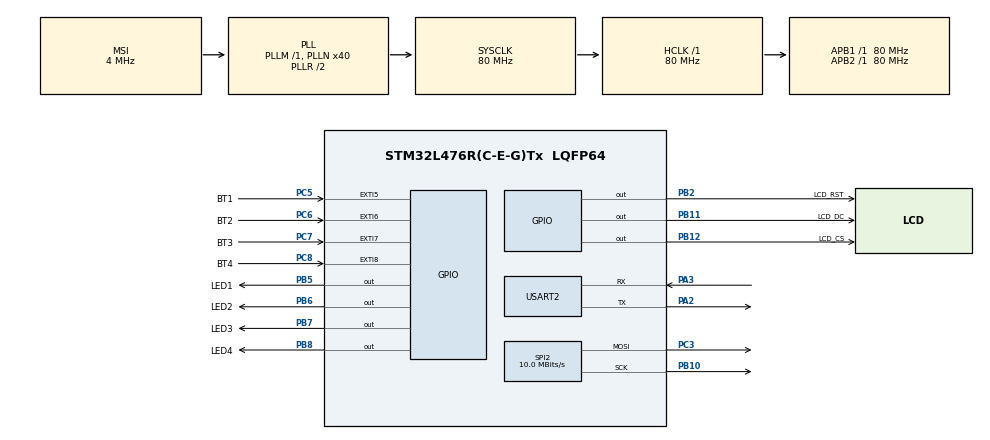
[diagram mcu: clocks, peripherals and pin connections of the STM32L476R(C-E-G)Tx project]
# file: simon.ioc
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Mcu.Family=STM32L4
Mcu.Name=STM32L476R(C-E-G)Tx
Mcu.Package=LQFP64
NVIC.EXTI9_5_IRQn=true\:8\:0\:true\:false\:true\:true\:true\:true
NVIC.PriorityGroup=NVIC_PRIORITYGROUP_4
NVIC.USART2_IRQn=true\:12\:0\:true\:false\:true\:true\:true\:true
PA13\ (JTMS-SWDIO).Mode=Serial_Wire
PA13\ (JTMS-SWDIO).Signal=SYS_JTMS-SWDIO
PA14\ (JTCK-SWCLK).Mode=Serial_Wire
PA14\ (JTCK-SWCLK).Signal=SYS_JTCK-SWCLK
PA2.Mode=Asynchronous
PA2.Signal=USART2_TX
PA3.Mode=Asynchronous
PA3.Signal=USART2_RX
PB10.Mode=TX_Only_Simplex_Unidirect_Master
PB10.Signal=SPI2_SCK
PB11.GPIO_Label=LCD_DC
PB11.Signal=GPIO_Output
PB12.GPIO_Label=LCD_CS
PB12.PinState=GPIO_PIN_SET
PB12.Signal=GPIO_Output
PB2.GPIO_Label=LCD_RST
PB2.Signal=GPIO_Output
PB5.GPIO_Label=LED1
PB5.Signal=GPIO_Output
PB6.GPIO_Label=LED2
PB6.Signal=GPIO_Output
PB7.GPIO_Label=LED3
PB7.Signal=GPIO_Output
PB8.GPIO_Label=LED4
PB8.Signal=GPIO_Output
PC3.Mode=TX_Only_Simplex_Unidirect_Master
PC3.Signal=SPI2_MOSI
PC5.GPIO_Label=BT1
PC5.GPIO_PuPd=GPIO_PULLUP
PC5.Signal=GPXTI5
PC6.GPIO_Label=BT2
PC6.GPIO_PuPd=GPIO_PULLUP
PC6.Signal=GPXTI6
PC7.GPIO_Label=BT3
PC7.GPIO_PuPd=GPIO_PULLUP
PC7.Signal=GPXTI7
PC8.GPIO_Label=BT4
PC8.GPIO_PuPd=GPIO_PULLUP
PC8.Signal=GPXTI8
ProjectManager.HeapSize=0x200
ProjectManager.StackSize=0x400
ProjectManager.TargetToolchain=STM32CubeIDE
RCC.AHBFreq_Value=80000000
RCC.APB1Freq_Value=80000000
RCC.APB1TimFreq_Value=80000000
RCC.APB2Freq_Value=80000000
RCC.APB2TimFreq_Value=80000000
RCC.CortexFreq_Value=80000000
RCC.HCLKFreq_Value=80000000
RCC.HSE_VALUE=8000000
RCC.HSI_VALUE=16000000
RCC.MSI_VALUE=4000000
RCC.PLLN=40
RCC.RTCClockSelection=RCC_RTCCLKSOURCE_LSE
RCC.SYSCLKFreq_VALUE=80000000
RCC.SYSCLKSource=RCC_SYSCLKSOURCE_PLLCLK
RCC.VCOOutputFreq_Value=160000000
SPI2.BaudRatePrescaler=SPI_BAUDRATEPRESCALER_8
SPI2.CalculateBaudRate=10.0 MBits/s
SPI2.DataSize=SPI_DATASIZE_8BIT
SPI2.Direction=SPI_DIRECTION_2LINES
SPI2.Mode=SPI_MODE_MASTER
SPI2.NSSPMode=SPI_NSS_PULSE_DISABLE
SPI2.VirtualType=VM_MASTER
USART2.VirtualMode-Asynchronous=VM_ASYNC
board=custom

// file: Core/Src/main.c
/* USER CODE BEGIN Header */
/**
  ******************************************************************************
  * @file           : main.c
  * @brief          : Main program body
  ******************************************************************************
  * @attention
  *
  * Copyright (c) 2025 STMicroelectronics.
  * All rights reserved.
  *
  * This software is licensed under terms that can be found in the LICENSE file
  * in the root directory of this software component.
  * If no LICENSE file comes with this software, it is provided AS-IS.
  *
  ******************************************************************************
  */
/* USER CODE END Header */
#include "main.h"
#include "spi.h"
#include "usart.h"
#include "gpio.h"

/* USER CODE BEGIN Includes */
#include "font6x9.h"
#include "hagl.h"
#include "rgb565.h"
/* USER CODE END Includes */

/* USER CODE BEGIN PV */
static uint8_t sequence[50];       // Maximum sequence length
static uint8_t sequence_length;    // Current sequence length
static uint8_t current_level = 0;  // Game level
static uint8_t current_sequence_check_index = 0; // Current index for sequence checking

#define MAX_PLAYERS 20

static char player_global_usernames[MAX_PLAYERS][20] = { "" };  // Global array of player usernames
static uint8_t player_global_scores[MAX_PLAYERS] = {0};         // Global array of player scores

uint8_t uart_rx_buffer;
uint32_t game_state = 0;                  // Current game state
uint8_t player_count = 0;                 // Number of players
char player_names[4][20];                 // Names of up to 4 players
uint8_t current_player = 0;               // Index of the current player
uint8_t color_sequence[50];               // Color sequence
uint8_t player_scores[4] = {0, 0, 0, 0};    // Player scores

hagl_backend_t *display;

#define LINE_MAX_LENGTH 20

static char line_buffer[LINE_MAX_LENGTH] = {0};
static uint8_t line_length = 0;

void line_append(uint8_t value) {
    if (value == '\r' || value == '\n') {
        // Line ending character received
        if (line_length > 0) {
            // Add string terminator at the end of the line
            line_buffer[line_length] = '\0';

            // Process the line
            if (game_state == 5) {
                strncpy(player_names[current_player], line_buffer, LINE_MAX_LENGTH);
                player_names[current_player][LINE_MAX_LENGTH - 1] = '\0';  // Ensure null termination

                // Display the username on screen
                wchar_t username_label[40];
                swprintf(username_label, sizeof(username_label) / sizeof(wchar_t),
                         L"Player %u: %s", current_player + 1, player_names[current_player]);
                hagl_put_text(display, username_label, 10, 40 + (current_player * 20), WHITE, font6x9);
                lcd_copy();

                // Check if this is the last player
                if (current_player + 1 < player_count) {
                    current_player++;
                    char message[50];  // Message buffer
                    snprintf(message, sizeof(message), "Type Player %u username:\r\n", current_player + 1);
                    HAL_UART_Transmit(&huart2, (uint8_t *)message, strlen(message), HAL_MAX_DELAY);
                } else {
                    HAL_UART_Transmit(&huart2, (uint8_t *)"All usernames selected!\r\n", 27, HAL_MAX_DELAY);

                    for (uint8_t i = 0; i < player_count; i++) {
                        char message[50];  // Message buffer
                        snprintf(message, sizeof(message), "Player %u: %s\r\n", i + 1, player_names[i]);
                        HAL_UART_Transmit(&huart2, (uint8_t *)message, strlen(message), HAL_MAX_DELAY);
                    }

                    current_player = 0;

                    all_leds_off_but(1);
                    display_players_turn_text();

                    game_state = 6;  // Change game state
                }
            }
            // Reset the buffer
            line_length = 0;
        }
    } else {
        // Append character to buffer if space is available
        if (line_length < LINE_MAX_LENGTH - 1) {
            line_buffer[line_length++] = value;
        } else {
            // Buffer overflow, resetting
            line_length = 0;
        }
    }
}

uint8_t received_char;

void HAL_UART_RxCpltCallback(UART_HandleTypeDef *huart) {
    if (huart->Instance == USART2) {
        // Add the received character to the line buffer
        line_append(received_char);

        // Restart reception in interrupt mode
        HAL_UART_Receive_IT(&huart2, &received_char, 1);
    }
}

void HAL_GPIO_EXTI_Callback(uint16_t GPIO_Pin) {
    // Button handling
    uint32_t currentTime = HAL_GetTick();

    char buffer[64];
    sprintf(buffer, "Game state: %lu, GPIO_Pin: %u\r\n", game_state, GPIO_Pin);
    HAL_UART_Transmit(&huart2, (uint8_t *)buffer, strlen(buffer), HAL_MAX_DELAY);

    if (game_state == 2 || game_state == 10) {
        if (GPIO_Pin == BT4_Pin) {
            game_state = 1;
            HAL_UART_Transmit(&huart2, (uint8_t *)"Back to Menu\r\n", 14, HAL_MAX_DELAY);
            all_leds_on_but(4);
            display_menu();
            return;
        }
    } else if (game_state == 1) {  // Menu
        if (GPIO_Pin == BT1_Pin) {
            game_state = 3;
            all_leds_on();
            display_player_count_selection();
            HAL_UART_Transmit(&huart2, (uint8_t *)"Player Count Selection\r\n", 25, HAL_MAX_DELAY);
        } else if (GPIO_Pin == BT2_Pin) {
            game_state = 2;
            HAL_UART_Transmit(&huart2, (uint8_t *)"Global Ranking selected\r\n", 23, HAL_MAX_DELAY);
            all_leds_off_but(4);
            display_global_ranking();
        } else if (GPIO_Pin == BT3_Pin) {
            game_state = 10;
            HAL_UART_Transmit(&huart2, (uint8_t *)"Credits selected\r\n", 19, HAL_MAX_DELAY);
            all_leds_off_but(4);
            display_credits();
        }
    } else if (game_state == 3) {  // Player Count Selection
        if (GPIO_Pin == BT1_Pin) {
            player_count = 1;
            game_state = 4;
            all_leds_off_but(1);
            HAL_UART_Transmit(&huart2, (uint8_t *)"1 Player selected\r\n", 20, HAL_MAX_DELAY);
        } else if (GPIO_Pin == BT2_Pin) {
            player_count = 2;
            game_state = 4;
            all_leds_off_but(2);
            HAL_UART_Transmit(&huart2, (uint8_t *)"2 Players selected\r\n", 21, HAL_MAX_DELAY);
        } else if (GPIO_Pin == BT3_Pin) {
            player_count = 3;
            game_state = 4;
            all_leds_off_but(3);
            HAL_UART_Transmit(&huart2, (uint8_t *)"3 Players selected\r\n", 21, HAL_MAX_DELAY);
        } else if (GPIO_Pin == BT4_Pin) {
            player_count = 4;
            game_state = 4;
            all_leds_off_but(4);
            HAL_UART_Transmit(&huart2, (uint8_t *)"4 Players selected\r\n", 21, HAL_MAX_DELAY);
        }

        if (GPIO_Pin == BT1_Pin || GPIO_Pin == BT2_Pin || GPIO_Pin == BT3_Pin || GPIO_Pin == BT4_Pin) {
            display_player_count_selected();
            all_leds_off();
            HAL_Delay(1000);
            display_player_introduction();
            game_state = 5;
            current_player = 0;
            HAL_UART_Transmit(&huart2, (uint8_t *)"Type Player 1 username:\r\n", 26, HAL_MAX_DELAY);
        }
    } else if (game_state == 6) {
        if (GPIO_Pin == BT1_Pin) {
            game_state = 7;
            all_leds_off();
            game_system();
        }
    } else if (game_state == 8) {
        uint8_t expected_led = sequence[current_sequence_check_index];
        uint8_t pressed_led = 0;

        // Map GPIO_Pin to LED number
        if (GPIO_Pin == BT1_Pin)
            pressed_led = 0;
        else if (GPIO_Pin == BT2_Pin)
            pressed_led = 1;
        else if (GPIO_Pin == BT3_Pin)
            pressed_led = 2;
        else if (GPIO_Pin == BT4_Pin)
            pressed_led = 3;

        // Check if the pressed LED matches the expected one
        if (pressed_led == expected_led) {
            current_sequence_check_index++;

            display_replay_sequence(current_level, current_sequence_check_index + 1, sequence_length);

            if (current_sequence_check_index >= sequence_length) {
                current_sequence_check_index = 0;
                game_state = 7;
                game_system();
            }
        } else {
            update_global_score(player_names[current_player], current_level - 1);
            update_score(current_level - 1);

            display_wrong();
            all_leds_blink(6, 100);
            HAL_Delay(2000);

            current_level = 0;
            if (current_player + 1 < player_count) {
                current_player += 1;
                all_leds_off_but(1);
                display_players_turn_text();

                game_state = 6;
            } else {
                HAL_UART_Transmit(&huart2, (uint8_t *)"Game finished!\r\n", 21, HAL_MAX_DELAY);
                game_state = 9;
                all_leds_off_but(4);
                display_game_ranking();
            }
        }
    } else if (game_state == 9) {
        if (GPIO_Pin == BT4_Pin) {
            game_state = 1;
            all_leds_on_but(4);
            display_menu();
        }
    }

    __HAL_GPIO_EXTI_CLEAR_IT(GPIO_Pin);
}

/* USER CODE END PV */

void SystemClock_Config(void);

/* USER CODE BEGIN 0 */
#define MAX_RADIUS 80
#define STEP 3  // Increase the radius by this step during animation

void generate_sequence(uint8_t level) {
    sequence_length = level + 2;  // Sequence length increases with level

    for (uint8_t i = 0; i < sequence_length; i++) {
        sequence[i] = rand() % 4;  // Random color (0-3)
    }
}

void play_sequence(uint32_t base_delay) {
    for (uint8_t i = 0; i < sequence_length; i++) {
        // Turn on the corresponding LED based on the sequence color
        switch (sequence[i]) {
            case 0:
                HAL_GPIO_WritePin(LED1_GPIO_Port, LED1_Pin, GPIO_PIN_SET);
                break;
            case 1:
                HAL_GPIO_WritePin(LED2_GPIO_Port, LED2_Pin, GPIO_PIN_SET);
                break;
            case 2:
                HAL_GPIO_WritePin(LED3_GPIO_Port, LED3_Pin, GPIO_PIN_SET);
                break;
            case 3:
                HAL_GPIO_WritePin(LED4_GPIO_Port, LED4_Pin, GPIO_PIN_SET);
                break;
        }

        HAL_Delay(base_delay);  // Delay

        // Turn off all LEDs using the helper function
        all_leds_off();

        HAL_Delay(base_delay / 2);  // Short delay before the next LED
    }
}

void game_system() {
    if (game_state != 7) return;
    current_sequence_check_index = 0;

    lcd_clear(BLACK);

    // Display message to memorize the sequence
    display_remember_sequence();

    HAL_Delay(1000);

    // Generate a new sequence
    current_sequence_check_index = 0;
    current_level += 1;
    generate_sequence(current_level);

    // Display the sequence using the LEDs
    uint32_t base_delay = 1000 - (current_level * 100);  // Reduce delay with each level
    play_sequence(base_delay);

    // Display message prompting the user to repeat the sequence
    game_state = 8;
    display_replay_sequence();
}

void all_leds_blink(uint8_t times, uint32_t delay_ms) {
    for (uint8_t i = 0; i < times; i++) {
        // Turn on all LEDs using the helper function
        all_leds_on();
        HAL_Delay(delay_ms);

        // Turn off all LEDs using the helper function
        all_leds_off();
        HAL_Delay(delay_ms);
    }
}

void all_leds_on() {
    // Turn on all LEDs
    HAL_GPIO_WritePin(LED1_GPIO_Port, LED1_Pin, GPIO_PIN_SET);
    HAL_GPIO_WritePin(LED2_GPIO_Port, LED2_Pin, GPIO_PIN_SET);
    HAL_GPIO_WritePin(LED3_GPIO_Port, LED3_Pin, GPIO_PIN_SET);
    HAL_GPIO_WritePin(LED4_GPIO_Port, LED4_Pin, GPIO_PIN_SET);
}

void all_leds_on_but(int excluded_led) {
    // Turn off all LEDs
    HAL_GPIO_WritePin(LED1_GPIO_Port, LED1_Pin, GPIO_PIN_RESET);
    HAL_GPIO_WritePin(LED2_GPIO_Port, LED2_Pin, GPIO_PIN_RESET);
    HAL_GPIO_WritePin(LED3_GPIO_Port, LED3_Pin, GPIO_PIN_RESET);
    HAL_GPIO_WritePin(LED4_GPIO_Port, LED4_Pin, GPIO_PIN_RESET);

    // Turn on all LEDs except the specified one
    if (excluded_led != 1) {
        HAL_GPIO_WritePin(LED1_GPIO_Port, LED1_Pin, GPIO_PIN_SET);
    }
    if (excluded_led != 2) {
        HAL_GPIO_WritePin(LED2_GPIO_Port, LED2_Pin, GPIO_PIN_SET);
    }
    if (excluded_led != 3) {
        HAL_GPIO_WritePin(LED3_GPIO_Port, LED3_Pin, GPIO_PIN_SET);
    }
    if (excluded_led != 4) {
        HAL_GPIO_WritePin(LED4_GPIO_Port, LED4_Pin, GPIO_PIN_SET);
    }
}

void all_leds_off() {
    // Turn off all LEDs
    HAL_GPIO_WritePin(LED1_GPIO_Port, LED1_Pin, GPIO_PIN_RESET);
    HAL_GPIO_WritePin(LED2_GPIO_Port, LED2_Pin, GPIO_PIN_RESET);
    HAL_GPIO_WritePin(LED3_GPIO_Port, LED3_Pin, GPIO_PIN_RESET);
    HAL_GPIO_WritePin(LED4_GPIO_Port, LED4_Pin, GPIO_PIN_RESET);
}

void all_leds_off_but(int num) {
    // Turn off all LEDs
    HAL_GPIO_WritePin(LED1_GPIO_Port, LED1_Pin, GPIO_PIN_RESET);
    HAL_GPIO_WritePin(LED2_GPIO_Port, LED2_Pin, GPIO_PIN_RESET);
    HAL_GPIO_WritePin(LED3_GPIO_Port, LED3_Pin, GPIO_PIN_RESET);
    HAL_GPIO_WritePin(LED4_GPIO_Port, LED4_Pin, GPIO_PIN_RESET);

    // Turn on one LED based on its number
    switch (num) {
        case 1:
            HAL_GPIO_WritePin(LED1_GPIO_Port, LED1_Pin, GPIO_PIN_SET);
            break;
        case 2:
            HAL_GPIO_WritePin(LED2_GPIO_Port, LED2_Pin, GPIO_PIN_SET);
            break;
        case 3:
            HAL_GPIO_WritePin(LED3_GPIO_Port, LED3_Pin, GPIO_PIN_SET);
            break;
        case 4:
            HAL_GPIO_WritePin(LED4_GPIO_Port, LED4_Pin, GPIO_PIN_SET);
            break;
        default:
            // Do not turn on any LED if the number is invalid
            break;
    }
}

void animate_circles() {
    lcd_clear(BLACK);
    hagl_color_t colors[] = {YELLOW, GREEN, RED, BLUE};
    int16_t corner_positions[4][2] = {
        {0, 0},
        {LCD_WIDTH - 1, 0},
        {0, LCD_HEIGHT - 1},
        {LCD_WIDTH - 1, LCD_HEIGHT - 1}
    };

    // Initial radius for each circle
    int16_t radius[4] = {0, 0, 0, 0};

    // Animate the growth of the circles
    while (radius[0] < MAX_RADIUS) {
        for (uint16_t i = 0; i < 4; i++) {
            int16_t x0 = corner_positions[i][0];
            int16_t y0 = corner_positions[i][1];
            // Increase the radius for each circle
            radius[i] = (radius[i] + STEP > MAX_RADIUS) ? MAX_RADIUS : radius[i] + STEP;
            hagl_color_t color = colors[i];
            // Draw a filled circle
            hagl_fill_circle(display, x0, y0, radius[i], color);
        }

        // Draw the "Simon Says" text
        hagl_put_text(display, L"Simon Says", 49, 59, WHITE, font6x9);

        // Update the screen
        lcd_copy();
    }

    // After the animation, display the final state
    lcd_copy();

    HAL_Delay(500);
}

void display_menu() {
    lcd_clear(BLACK);

    // Colors for the menu option circles
    hagl_color_t colors[] = {RED, YELLOW, GREEN};

    // Y positions for the menu options
    int16_t positions_y[] = {20, 40, 60};

    // Display menu options with colored circles
    const wchar_t *menu_texts[] = {L"Start Game", L"Global Ranking", L"Credits"};

    for (uint8_t i = 0; i < 3; i++) {
        // Draw a small circle
        hagl_fill_circle(display, 10, positions_y[i] + 5, 5, colors[i]);

        // Display text next to the circle
        hagl_put_text(display, menu_texts[i], 20, positions_y[i], WHITE, font6x9);
    }

    lcd_copy();
}

void display_player_count_selection() {
    // Colors for the player options
    hagl_color_t colors[] = {RED, YELLOW, GREEN, BLUE};

    // X positions for the options (evenly divided horizontally)
    int16_t positions_x[4] = {
        LCD_WIDTH / 8,      // 1/8 of width for red
        LCD_WIDTH / 8 * 3,  // 3/8 of width for yellow
        LCD_WIDTH / 8 * 5,  // 5/8 of width for green
        LCD_WIDTH / 8 * 7   // 7/8 of width for blue
    };

    // Common Y position for all options (at the bottom of the screen)
    int16_t position_y = LCD_HEIGHT - 40;

    // Clear the screen
    lcd_clear(BLACK);

    // Display header text
    hagl_put_text(display, L"Select how many players", LCD_WIDTH / 2 - 70, 10, WHITE, font6x9);
    hagl_put_text(display, L"will play the game", LCD_WIDTH / 2 - 55, 20, WHITE, font6x9);

    // Display the player count options
    for (uint16_t i = 0; i < 4; i++) {
        // Draw small circles in the corresponding colors
        hagl_fill_circle(display, positions_x[i], position_y, 15, colors[i]);

        // Draw numbers ("1", "2", "3", "4") under each circle
        wchar_t label[2];  // Wide character array
        swprintf(label, sizeof(label) / sizeof(wchar_t), L"%u", i + 1);
        hagl_put_text(display, label, positions_x[i] - 3, position_y + 20, WHITE, font6x9);
    }

    // Update the screen
    lcd_copy();
}

void display_player_count_selected() {
    // Clear the screen
    lcd_clear(BLACK);

    // Display header indicating the selected number of players
    hagl_put_text(display, L"You selected", LCD_WIDTH / 2 - 40, 10, WHITE, font6x9);

    // Display the number of players
    wchar_t player_count_label[20];
    if (player_count > 1) {
        swprintf(player_count_label, sizeof(player_count_label) / sizeof(wchar_t), L"%u players", player_count);
    } else {
        swprintf(player_count_label, sizeof(player_count_label) / sizeof(wchar_t), L"1 player");
    }
    hagl_put_text(display, player_count_label, LCD_WIDTH / 2 - 30, 30, WHITE, font6x9);

    // Update the screen
    lcd_copy();
}

void display_player_introduction() {
    // Clear the screen
    lcd_clear(BLACK);

    // Display header prompting for usernames via UART
    hagl_put_text(display, L"Define usernames (UART):", LCD_WIDTH / 2 - 70, 10, WHITE, font6x9);

    for (uint8_t i = 0; i < player_count; i++) {
        wchar_t player_label[20];
        swprintf(player_label, sizeof(player_label) / sizeof(wchar_t), L"Player %u:", i + 1);
        hagl_put_text(display, player_label, 10, 40 + (i * 20), WHITE, font6x9);
    }

    // Update the screen
    lcd_copy();
}

void display_players_turn_text() {
    lcd_clear(BLACK);

    // Display the first line "It's now"
    hagl_put_text(display, L"It's now", LCD_WIDTH / 2 - (8 * 6 / 2), 10, WHITE, font6x9);

    // Display the player's name centered
    wchar_t player_turn[50];
    swprintf(player_turn, sizeof(player_turn) / sizeof(wchar_t), L"%s's", player_names[current_player]);
    hagl_put_text(display, player_turn, LCD_WIDTH / 2 - (wcslen(player_turn) * 6 / 2), 25, WHITE, font6x9);

    // Display the third line "turn"
    hagl_put_text(display, L"turn", LCD_WIDTH / 2 - (4 * 6 / 2), 40, WHITE, font6x9);

    // Display the text "Click"
    hagl_put_text(display, L"Click", LCD_WIDTH / 2 - (5 * 6 / 2), LCD_HEIGHT - 43, WHITE, font6x9);

    // Draw a red circle
    hagl_fill_circle(display, LCD_WIDTH / 2, LCD_HEIGHT - 25, 5, RED);

    // Display the text "when you're ready"
    hagl_put_text(display, L"when you're ready", LCD_WIDTH / 2 - (16 * 6 / 2), LCD_HEIGHT - 15, WHITE, font6x9);

    lcd_copy();
}

void display_remember_sequence() {
    lcd_clear(BLACK);

    // Display "Remember the sequence" text
    hagl_put_text(display, L"Remember the sequence", LCD_WIDTH / 2 - (21 * 6 / 2), 30, WHITE, font6x9);

    // Display "Memorize the order of LEDs" text
    hagl_put_text(display, L"Memorize the order of LEDs", LCD_WIDTH / 2 - (26 * 6 / 2), 50, WHITE, font6x9);

    lcd_copy();
}

void display_replay_sequence() {
    lcd_clear(BLACK);

    // Display "Your turn!" text
    hagl_put_text(display, L"Your turn!", LCD_WIDTH / 2 - (10 * 6 / 2), 20, WHITE, font6x9);

    // Display "Repeat the sequence" text
    hagl_put_text(display, L"Repeat the sequence", LCD_WIDTH / 2 - (19 * 6 / 2), 40, WHITE, font6x9);

    // Display the level number
    wchar_t level_text[20];
    swprintf(level_text, sizeof(level_text) / sizeof(wchar_t), L"Level: %u", current_level);
    hagl_put_text(display, level_text, LCD_WIDTH / 2 - (wcslen(level_text) * 6 / 2), 60, WHITE, font6x9);

    // Display the step information
    wchar_t step_text[30];
    swprintf(step_text, sizeof(step_text) / sizeof(wchar_t), L"Step: %u/%u", current_sequence_check_index, sequence_length);
    hagl_put_text(display, step_text, LCD_WIDTH / 2 - (wcslen(step_text) * 6 / 2), 80, WHITE, font6x9);

    lcd_copy();
}

void display_wrong() {
    lcd_clear(BLACK);

    // Display "WRONG" text at the center of the screen
    hagl_put_text(display, L"WRONG", LCD_WIDTH / 2 - (5 * 6 / 2), LCD_HEIGHT / 2 - 18, RED, font6x9);

    // Display "Completed levels: <level>" text below "WRONG"
    wchar_t level_text[20];
    swprintf(level_text, sizeof(level_text) / sizeof(wchar_t), L"Completed levels: %u", current_level - 1);
    hagl_put_text(display, level_text, LCD_WIDTH / 2 - (wcslen(level_text) * 6 / 2), LCD_HEIGHT / 2, WHITE, font6x9);

    lcd_copy();
}

void update_global_score(const char *username, uint8_t score) {
    for (uint8_t i = 0; i < MAX_PLAYERS; i++) {
        // If the user is found, update the score only if the new score is higher
        if (strcmp(player_global_usernames[i], username) == 0) {
            if (score > player_global_scores[i]) {
                player_global_scores[i] = score;
            }
            return;
        }
    }

    // If the user does not exist, find an empty slot and add the user
    for (uint8_t i = 0; i < MAX_PLAYERS; i++) {
        if (player_global_usernames[i][0] == '\0') {  // Empty slot
            strncpy(player_global_usernames[i], username, sizeof(player_global_usernames[i]) - 1);
            player_global_usernames[i][sizeof(player_global_usernames[i]) - 1] = '\0';  // Ensure safe string termination
            player_global_scores[i] = score;
            return;
        }
    }
}

void update_score(uint8_t score) {
    player_scores[current_player] = score;
}

void display_global_ranking() {
    lcd_clear(BLACK);

    // Temporary arrays for sorting
    char sorted_usernames[MAX_PLAYERS][20];
    uint8_t sorted_scores[MAX_PLAYERS];
    memcpy(sorted_usernames, player_global_usernames, sizeof(player_global_usernames));
    memcpy(sorted_scores, player_global_scores, sizeof(player_global_scores));

    // Bubble sort (from highest to lowest score)
    for (uint8_t i = 0; i < MAX_PLAYERS - 1; i++) {
        for (uint8_t j = 0; j < MAX_PLAYERS - i - 1; j++) {
            if (sorted_scores[j] < sorted_scores[j + 1]) {
                // Swap scores
                uint8_t temp_score = sorted_scores[j];
                sorted_scores[j] = sorted_scores[j + 1];
                sorted_scores[j + 1] = temp_score;

                // Swap usernames
                char temp_username[20];
                strncpy(temp_username, sorted_usernames[j], sizeof(temp_username));
                strncpy(sorted_usernames[j], sorted_usernames[j + 1], sizeof(sorted_usernames[j]));
                strncpy(sorted_usernames[j + 1], temp_username, sizeof(sorted_usernames[j + 1]));
            }
        }
    }

    // Display ranking header
    hagl_put_text(display, L"Global Ranking", LCD_WIDTH / 2 - (14 * 6 / 2), 5, WHITE, font6x9);

    // Display the list of players and their scores
    for (uint8_t i = 0; i < MAX_PLAYERS; i++) {
        if (sorted_usernames[i][0] != '\0') {  // Check if the user exists
            wchar_t ranking_entry[40];
            swprintf(ranking_entry, sizeof(ranking_entry) / sizeof(wchar_t), L"%s: %u", sorted_usernames[i], sorted_scores[i]);
            hagl_put_text(display, ranking_entry, 10, 20 + (i * 15), WHITE, font6x9);
        }
    }

    // Display centered "Click" text
    hagl_put_text(display, L"Click", LCD_WIDTH / 2 - (5 * 6 / 2), LCD_HEIGHT - 43, WHITE, font6x9);

    // Draw a blue circle below "Click"
    hagl_fill_circle(display, LCD_WIDTH / 2, LCD_HEIGHT - 25, 5, BLUE);

    // Display centered "to get back to menu" text below the circle
    hagl_put_text(display, L"to get back to menu", LCD_WIDTH / 2 - (19 * 6 / 2), LCD_HEIGHT - 15, WHITE, font6x9);

    lcd_copy();
}

void display_game_ranking() {
    lcd_clear(BLACK);

    // Temporary arrays for sorting
    char sorted_names[4][20];
    uint8_t sorted_scores[4];
    memcpy(sorted_names, player_names, sizeof(player_names));
    memcpy(sorted_scores, player_scores, sizeof(player_scores));

    // Bubble sort (from highest to lowest score)
    for (uint8_t i = 0; i < player_count - 1; i++) {
        for (uint8_t j = 0; j < player_count - i - 1; j++) {
            if (sorted_scores[j] < sorted_scores[j + 1]) {
                // Swap scores
                uint8_t temp_score = sorted_scores[j];
                sorted_scores[j] = sorted_scores[j + 1];
                sorted_scores[j + 1] = temp_score;

                // Swap player names
                char temp_name[20];
                strncpy(temp_name, sorted_names[j], sizeof(temp_name));
                strncpy(sorted_names[j], sorted_names[j + 1], sizeof(sorted_names[j]));
                strncpy(sorted_names[j + 1], temp_name, sizeof(sorted_names[j + 1]));
            }
        }
    }

    // Display ranking header
    hagl_put_text(display, L"Game Ranking", LCD_WIDTH / 2 - (12 * 6 / 2), 5, WHITE, font6x9);

    // Display the sorted list of players and their scores
    for (uint8_t i = 0; i < player_count; i++) {
        if (sorted_names[i][0] != '\0') {  // Check if the user exists
            wchar_t ranking_entry[40];
            swprintf(ranking_entry, sizeof(ranking_entry) / sizeof(wchar_t), L"%s: %u", sorted_names[i], sorted_scores[i]);
            uint16_t text_width = wcslen(ranking_entry) * 6;  // Text width in pixels
            hagl_put_text(display, ranking_entry, LCD_WIDTH / 2 - (text_width / 2), 20 + (i * 15), WHITE, font6x9);
        }
    }

    // Display centered "Click" text
    hagl_put_text(display, L"Click", LCD_WIDTH / 2 - (5 * 6 / 2), LCD_HEIGHT - 43, WHITE, font6x9);

    // Draw a blue circle below "Click"
    hagl_fill_circle(display, LCD_WIDTH / 2, LCD_HEIGHT - 25, 5, BLUE);

    // Display centered "to get back to menu" text below the circle
    hagl_put_text(display, L"to get back to menu", LCD_WIDTH / 2 - (19 * 6 / 2), LCD_HEIGHT - 15, WHITE, font6x9);

    lcd_copy();
}

void display_credits() {
    lcd_clear(BLACK);

    // Display the centered "Credits" title
    hagl_put_text(display, L"Credits", LCD_WIDTH / 2 - (7 * 6 / 2), 5, WHITE, font6x9);

    // Display centered lines of text with spacing below "Credits"
    hagl_put_text(display, L"Marcin Kondrat", LCD_WIDTH / 2 - (14 * 6 / 2), 17, WHITE, font6x9);
    hagl_put_text(display, L"Jowita Ochrymiuk", LCD_WIDTH / 2 - (16 * 6 / 2), 28, WHITE, font6x9);
    hagl_put_text(display, L"Projekt zaliczeniowy", LCD_WIDTH / 2 - (20 * 6 / 2), 39, WHITE, font6x9);
    hagl_put_text(display, L"Architektura Komputerów", LCD_WIDTH / 2 - (23 * 6 / 2), 50, WHITE, font6x9);
    hagl_put_text(display, L"Politechnika Białostocka", LCD_WIDTH / 2 - (24 * 6 / 2), 61, WHITE, font6x9);
    hagl_put_text(display, L"2025", LCD_WIDTH / 2 - (4 * 6 / 2), 72, WHITE, font6x9);

    // Display centered "Click" text
    hagl_put_text(display, L"Click", LCD_WIDTH / 2 - (5 * 6 / 2), LCD_HEIGHT - 43, WHITE, font6x9);

    // Draw a blue circle below "Click"
    hagl_fill_circle(display, LCD_WIDTH / 2, LCD_HEIGHT - 25, 5, BLUE);

    // Display centered "to get back to menu" text below the circle
    hagl_put_text(display, L"to get back to menu", LCD_WIDTH / 2 - (19 * 6 / 2), LCD_HEIGHT - 15, WHITE, font6x9);

    lcd_copy();
}

/* USER CODE END 0 */

int main(void)
{

  /* MCU Configuration--------------------------------------------------------*/

  /* Reset of all peripherals, Initializes the Flash interface and the Systick. */
  HAL_Init();

  /* Configure the system clock */
  SystemClock_Config();

  /* Initialize all configured peripherals */
  MX_GPIO_Init();
  MX_SPI2_Init();
  MX_USART2_UART_Init();
  /* USER CODE BEGIN 2 */
  HAL_UART_Receive_IT(&huart2, &received_char, 1);
  /* USER CODE END 2 */

  /* Infinite loop */
  /* USER CODE BEGIN WHILE */
    lcd_init();

    display = hagl_init();

    animate_circles();
    game_state = 1;
    all_leds_on_but(4);
    display_menu();
    while (1) {
    /* USER CODE END WHILE */

    }
}

void SystemClock_Config(void)
{
  RCC_OscInitTypeDef RCC_OscInitStruct = {0};
  RCC_ClkInitTypeDef RCC_ClkInitStruct = {0};

  /** Configure the main internal regulator output voltage
  */
  if (HAL_PWREx_ControlVoltageScaling(PWR_REGULATOR_VOLTAGE_SCALE1) != HAL_OK)
  {
    Error_Handler();
  }

  /** Initializes the RCC Oscillators according to the specified parameters
  * in the RCC_OscInitTypeDef structure.
  */
  RCC_OscInitStruct.OscillatorType = RCC_OSCILLATORTYPE_MSI;
  RCC_OscInitStruct.MSIState = RCC_MSI_ON;
  RCC_OscInitStruct.MSICalibrationValue = 0;
  RCC_OscInitStruct.MSIClockRange = RCC_MSIRANGE_6;
  RCC_OscInitStruct.PLL.PLLState = RCC_PLL_ON;
  RCC_OscInitStruct.PLL.PLLSource = RCC_PLLSOURCE_MSI;
  RCC_OscInitStruct.PLL.PLLM = 1;
  RCC_OscInitStruct.PLL.PLLN = 40;
  RCC_OscInitStruct.PLL.PLLP = RCC_PLLP_DIV7;
  RCC_OscInitStruct.PLL.PLLQ = RCC_PLLQ_DIV2;
  RCC_OscInitStruct.PLL.PLLR = RCC_PLLR_DIV2;
  if (HAL_RCC_OscConfig(&RCC_OscInitStruct) != HAL_OK)
  {
    Error_Handler();
  }

  /** Initializes the CPU, AHB and APB buses clocks
  */
  RCC_ClkInitStruct.ClockType = RCC_CLOCKTYPE_HCLK|RCC_CLOCKTYPE_SYSCLK
                              |RCC_CLOCKTYPE_PCLK1|RCC_CLOCKTYPE_PCLK2;
  RCC_ClkInitStruct.SYSCLKSource = RCC_SYSCLKSOURCE_PLLCLK;
  RCC_ClkInitStruct.AHBCLKDivider = RCC_SYSCLK_DIV1;
  RCC_ClkInitStruct.APB1CLKDivider = RCC_HCLK_DIV1;
  RCC_ClkInitStruct.APB2CLKDivider = RCC_HCLK_DIV1;

  if (HAL_RCC_ClockConfig(&RCC_ClkInitStruct, FLASH_LATENCY_4) != HAL_OK)
  {
    Error_Handler();
  }
}

void Error_Handler(void)
{
    __disable_irq();
    while (1) {
    }
}
